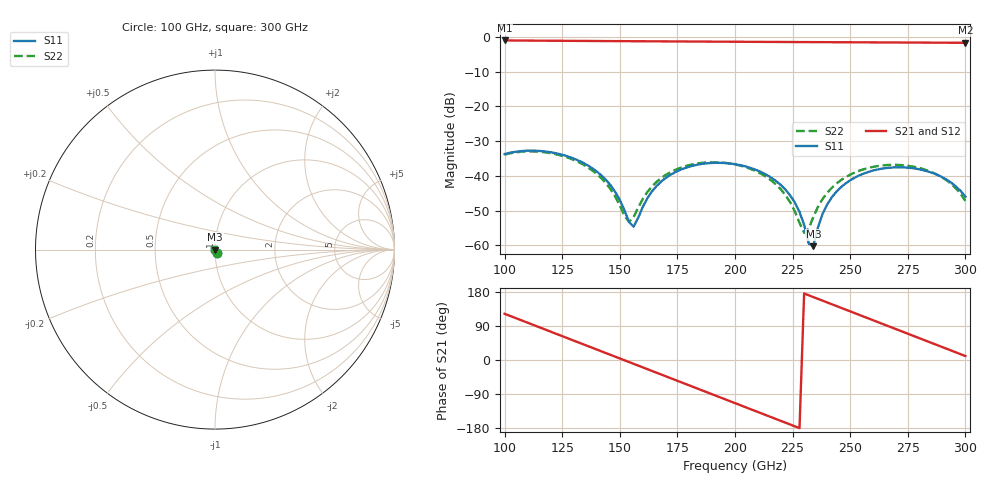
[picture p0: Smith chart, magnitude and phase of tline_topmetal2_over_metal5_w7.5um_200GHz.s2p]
#  GHZ S DB R 50
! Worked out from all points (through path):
!   101 points, 100 GHz to 300 GHz, reference 50 ohm
!   highest |S21| = -1.02 dB at 100 GHz (marker M1); lowest = -1.7 dB at 300 GHz (marker M2)
!   group delay of S21, straight-line fit = 6.55 ps
!   lowest |S11| = -60.2 dB at 234 GHz (marker M3), VSWR 1.00, Z = 50.1 + j0.0267 ohm
!   |S11| at or under -10 dB: start of sweep to end of sweep
!   |S22| runs from -56.4 to -32.9 dB; largest |S21 - S12| = 1e-13
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100  -33.70 -64.3  -1.02 122.0  -1.02 122.0  -33.87 -64.5
116  -32.86 -106.2  -1.09 84.2  -1.09 84.2  -33.09 -106.6
134  -36.20 -155.6  -1.16 41.8  -1.16 41.8  -36.69 -156.7
146  -42.70 165.3  -1.20 13.5  -1.20 13.5  -43.82 160.7
154  -53.25 101.2  -1.23 -5.4  -1.23 -5.4  -53.24 72.0
156  -54.61 54.7  -1.24 -10.1  -1.24 -10.1  -51.83 32.3
162  -46.38 -19.7  -1.26 -24.2  -1.26 -24.2  -44.61 -20.0
168  -41.60 -45.3  -1.28 -38.4  -1.28 -38.4  -40.60 -44.1
184  -36.73 -93.5  -1.34 -76.1  -1.34 -76.1  -36.39 -92.3
200  -36.63 -137.5  -1.39 -113.8  -1.39 -113.8  -36.69 -136.9
212  -39.11 -170.6  -1.43 -142.1  -1.43 -142.1  -39.65 -171.4
222  -44.02 159.7  -1.46 -165.6  -1.46 -165.6  -45.60 153.8
226  -47.68 145.0  -1.48 -175.1  -1.48 -175.1  -50.25 130.7
230  -54.09 121.0  -1.49 175.5  -1.49 175.5  -56.35 70.3
232  -59.46 88.5  -1.49 170.8  -1.49 170.8  -55.16 22.8
234  -60.22 15.9  -1.50 166.1  -1.50 166.1  -51.81 -5.7
238  -50.92 -37.4  -1.51 156.6  -1.51 156.6  -46.67 -33.0
244  -44.56 -62.2  -1.53 142.5  -1.53 142.5  -42.23 -56.5
256  -39.29 -97.4  -1.56 114.2  -1.56 114.2  -38.05 -92.5
268  -37.59 -129.7  -1.60 85.9  -1.60 85.9  -36.82 -125.5
288  -39.76 177.9  -1.66 38.7  -1.66 38.7  -39.72 -179.6
300  -45.97 147.4  -1.69 10.5  -1.69 10.5  -47.19 145.1
